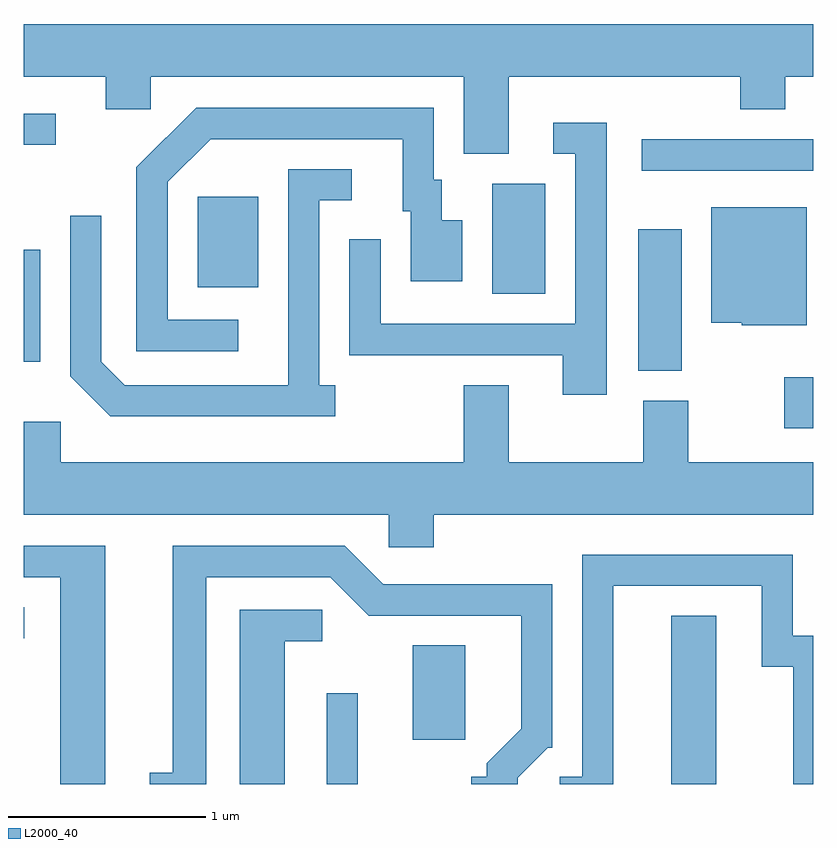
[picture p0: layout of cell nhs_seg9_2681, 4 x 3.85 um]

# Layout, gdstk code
import gdstk
lib = gdstk.Library(unit=1e-6, precision=1e-09)
def R(c, l, rs):  # rectangles x0, y0, x1, y1
    for r in rs: c.add(gdstk.rectangle(r[:2], r[2:], *l))
def P(c, l, *ps):  # polygons
    for p in ps: c.add(gdstk.Polygon(p, *l))
L2000_40 = (2000, 40)

nhs_seg9_2681 = lib.new_cell('nhs_seg9_2681')
R(nhs_seg9_2681, L2000_40, [(265.146,2010.432,265.304,2010.893), (266.891,2010.432,267.119,2011.284), (265.581,2010.656,265.849,2011.134), (263.611,2011.171,263.613,2011.329), (267.466,2012.236,267.611,2012.494), (266.726,2012.526,266.944,2013.244), (263.611,2012.571,263.694,2013.139), (265.986,2012.916,266.254,2013.474), (264.491,2012.951,264.799,2013.409), (266.743,2013.541,267.611,2013.699), (263.611,2013.671,263.773,2013.829)])
P(nhs_seg9_2681, L2000_40, [(266.069,2014.016),(267.241,2014.016),(267.241,2013.851),(267.469,2013.851),(267.469,2014.016),(267.611,2014.016),(267.611,2014.284),(263.611,2014.284),(263.611,2014.016),(264.026,2014.016),(264.026,2013.851),(264.254,2013.851),(264.254,2014.016),(265.841,2014.016),(265.841,2013.626),(266.069,2013.626)],
  [(264.698,2012.784),(264.339,2012.784),(264.339,2013.484),(264.557,2013.701),(265.531,2013.701),(265.531,2013.336),(265.571,2013.336),(265.571,2012.981),(265.834,2012.981),(265.834,2013.289),(265.729,2013.289),(265.729,2013.494),(265.689,2013.494),(265.689,2013.859),(264.484,2013.859),(264.181,2013.557),(264.181,2012.626),(264.698,2012.626)],
  [(266.564,2013.784),(266.293,2013.784),(266.293,2013.626),(266.406,2013.626),(266.406,2012.764),(265.419,2012.764),(265.419,2013.193),(265.261,2013.193),(265.261,2012.606),(266.341,2012.606),(266.341,2012.406),(266.564,2012.406)],
  [(265.188,2012.454),(265.109,2012.454),(265.109,2013.391),(265.273,2013.391),(265.273,2013.549),(264.951,2013.549),(264.951,2012.454),(264.122,2012.454),(264.004,2012.572),(264.004,2013.313),(263.846,2013.313),(263.846,2012.499),(264.049,2012.296),(265.188,2012.296)],
  [(267.579,2013.354),(267.096,2013.354),(267.096,2012.771),(267.25,2012.771),(267.25,2012.756),(267.579,2012.756)],
  [(265.689,2011.796),(267.611,2011.796),(267.611,2012.064),(266.979,2012.064),(266.979,2012.374),(266.751,2012.374),(266.751,2012.064),(266.069,2012.064),(266.069,2012.454),(265.841,2012.454),(265.841,2012.064),(263.799,2012.064),(263.799,2012.269),(263.611,2012.269),(263.611,2011.796),(265.461,2011.796),(265.461,2011.631),(265.689,2011.631)],
  [(264.024,2011.639),(263.611,2011.639),(263.611,2011.481),(263.796,2011.481),(263.796,2010.432),(264.024,2010.432)],
  [(264.534,2011.481),(265.164,2011.481),(265.359,2011.286),(266.131,2011.286),(266.131,2010.712),(265.956,2010.537),(265.956,2010.469),(265.878,2010.469),(265.878,2010.432),(266.114,2010.432),(266.114,2010.464),(266.267,2010.616),(266.289,2010.616),(266.289,2011.444),(265.432,2011.444),(265.237,2011.639),(264.366,2011.639),(264.366,2010.489),(264.248,2010.489),(264.248,2010.432),(264.534,2010.432)],
  [(266.599,2011.436),(267.351,2011.436),(267.351,2011.026),(267.511,2011.026),(267.511,2010.432),(267.611,2010.432),(267.611,2011.184),(267.509,2011.184),(267.509,2011.594),(266.441,2011.594),(266.441,2010.469),(266.328,2010.469),(266.328,2010.432),(266.599,2010.432)],
  [(264.934,2011.156),(265.123,2011.156),(265.123,2011.314),(264.706,2011.314),(264.706,2010.432),(264.934,2010.432)])

lib.write_gds('nhs_seg9_2681.gds')
